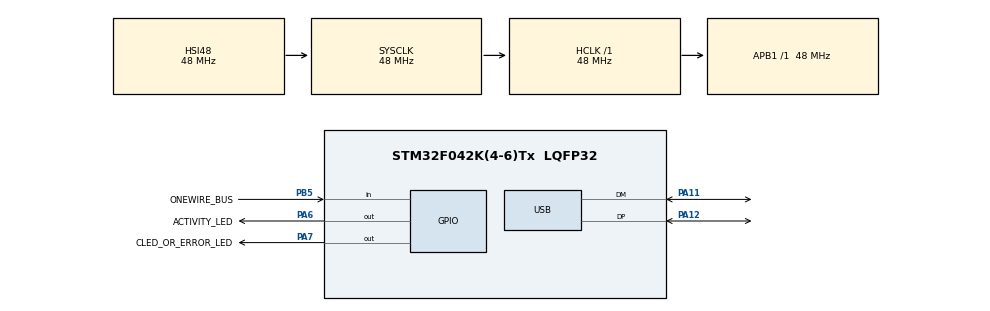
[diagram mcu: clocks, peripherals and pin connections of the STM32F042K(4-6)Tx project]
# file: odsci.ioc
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IWDG.Prescaler=IWDG_PRESCALER_32
Mcu.Family=STM32F0
Mcu.Name=STM32F042K(4-6)Tx
Mcu.Package=LQFP32
NVIC.USB_IRQn=true\:0\:0\:false\:false\:true\:false\:true\:true
PA11.Mode=Device
PA11.Signal=USB_DM
PA12.Mode=Device
PA12.Signal=USB_DP
PA13.Mode=Serial_Wire
PA13.Signal=SYS_SWDIO
PA14.Mode=Serial_Wire
PA14.Signal=SYS_SWCLK
PA6.GPIO_Label=ACTIVITY_LED
PA6.Signal=GPIO_Output
PA7.GPIO_Label=CLED_OR_ERROR_LED
PA7.Signal=GPIO_Output
PB5.GPIO_Label=ONEWIRE_BUS
PB5.Signal=GPIO_Input
ProjectManager.HeapSize=0x200
ProjectManager.StackSize=0x400
ProjectManager.TargetToolchain=CMake
RCC.AHBFreq_Value=48000000
RCC.APB1Freq_Value=48000000
RCC.APB1TimFreq_Value=48000000
RCC.HCLKFreq_Value=48000000
RCC.PWREXT_OverDrive=PWREXT_OverDrive_DESACTIVATED
RCC.PWR_Regulator_Voltage_Scale=PWR_REGULATOR_VOLTAGE_SCALE3
RCC.RCC_TIM_PRescaler_Selection=RCC_TIMPRES_DESACTIVATED
RCC.SYSCLKFreq_VALUE=48000000
RCC.SYSCLKSource=RCC_SYSCLKSOURCE_HSI48
TIM2.Prescaler=47
USB_DEVICE.APP_RX_DATA_SIZE=256
USB_DEVICE.APP_TX_DATA_SIZE=256
USB_DEVICE.CLASS_NAME_FS=CDC
USB_DEVICE.CONFIGURATION_STRING_CDC_FS=ODSCI Configuration
USB_DEVICE.INTERFACE_STRING_CDC_FS=ODSCI Interface
USB_DEVICE.MANUFACTURER_STRING=Stratos Thivaios
USB_DEVICE.PRODUCT_STRING_CDC_FS=ODSCI v2 CDC
USB_DEVICE.VirtualMode=Cdc
USB_DEVICE.VirtualModeFS=Cdc_FS
VP_IWDG_VS_IWDG.Mode=IWDG_Activate
VP_TIM2_VS_ClockSourceINT.Mode=Internal
VP_USB_DEVICE_VS_USB_DEVICE_CDC_FS.Mode=CDC_FS
board=custom

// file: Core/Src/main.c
/* USER CODE BEGIN Header */
/**
  ******************************************************************************
  * @file           : main.c
  * @brief          : Main program body
  * @project        : ODSCI STM32 Firmware
  * @author         : Stratos Thivaios
  ******************************************************************************
  * @attention
  *
  * Copyright (c) 2026 Stratos Thivaios
  *
  * Licensed under the Apache License, Version 2.0 (the "License");
  * you may not use this file except in compliance with the License.
  * You may obtain a copy of the License at
  *
  *     http://www.apache.org/licenses/LICENSE-2.0
  *
  * Unless required by applicable law or agreed to in writing, software
  * distributed under the License is distributed on an "AS IS" BASIS,
  * WITHOUT WARRANTIES OR CONDITIONS OF ANY KIND, either express or implied.
  * See the License for the specific language governing permissions and
  * limitations under the License.
  *
  ******************************************************************************
  */
/* USER CODE END Header */
#include "main.h"
#include "usb_device.h"

/* USER CODE BEGIN Includes */
#include "../../App/Inc/led_control.h"
/* USER CODE END Includes */

IWDG_HandleTypeDef hiwdg;

TIM_HandleTypeDef htim2;

/* USER CODE BEGIN PV */

TakeAction_Params_T TakeAction_ClearStruct;
volatile TakeAction_Params_T TakeAction_Params;
volatile bool LastResetDueToIWDG;
/* USER CODE END PV */

void SystemClock_Config(void);
static void MX_GPIO_Init(void);
static void MX_TIM2_Init(void);
static void MX_IWDG_Init(void);

/* USER CODE BEGIN 0 */

void change_takeAction_params(const TakeAction_Params_T params) {
  TakeAction_Params = params;
}
/* USER CODE END 0 */

int main(void)
{

  /* MCU Configuration--------------------------------------------------------*/

  /* Reset of all peripherals, Initializes the Flash interface and the Systick. */
  HAL_Init();

  /* Configure the system clock */
  SystemClock_Config();

  /* Initialize all configured peripherals */
  MX_GPIO_Init();
  MX_USB_DEVICE_Init();
  MX_TIM2_Init();
  MX_IWDG_Init();
  /* USER CODE BEGIN 2 */

  // check reset cause before anything else
  set_last_reset_due_to_iwdg(__HAL_RCC_GET_FLAG(RCC_FLAG_IWDGRST));
  if (__HAL_RCC_GET_FLAG(RCC_FLAG_IWDGRST)) {
    int i = 0;
    while (i < 6) {
      HAL_GPIO_WritePin(CLED_OR_ERROR_LED_GPIO_Port, CLED_OR_ERROR_LED_Pin, true);
      HAL_Delay(350);
      HAL_GPIO_WritePin(CLED_OR_ERROR_LED_GPIO_Port, CLED_OR_ERROR_LED_Pin, false);
      HAL_Delay(250);
      HAL_IWDG_Refresh(&hiwdg);
      i = i + 1;
    }
  }
  __HAL_RCC_CLEAR_RESET_FLAGS(); // clear them for next time

  // start the timer
  HAL_TIM_Base_Start(&htim2);
  /* USER CODE END 2 */

  /* Infinite loop */
  /* USER CODE BEGIN WHILE */
  // ReSharper disable once CppDFAEndlessLoop
  while (1) {
    // disable interrupts to prevent a race condition if the usb interrupt tries to access the var too
    __disable_irq();
    // before clearing the var, we store the value in a new var to pass it to the take_action() func
    const TakeAction_Params_T local_params = TakeAction_Params;
    TakeAction_Params = TakeAction_ClearStruct;
    // enable the interrupts again
    __enable_irq();

    // now actually take action
    take_action(local_params);

    HAL_IWDG_Refresh(&hiwdg);
    HAL_Delay(1);
  }
    /* USER CODE END WHILE */

}

void SystemClock_Config(void)
{
  RCC_OscInitTypeDef RCC_OscInitStruct = {0};
  RCC_ClkInitTypeDef RCC_ClkInitStruct = {0};
  RCC_PeriphCLKInitTypeDef PeriphClkInit = {0};

  /** Initializes the RCC Oscillators according to the specified parameters
  * in the RCC_OscInitTypeDef structure.
  */
  RCC_OscInitStruct.OscillatorType = RCC_OSCILLATORTYPE_HSI48|RCC_OSCILLATORTYPE_LSI;
  RCC_OscInitStruct.HSI48State = RCC_HSI48_ON;
  RCC_OscInitStruct.LSIState = RCC_LSI_ON;
  RCC_OscInitStruct.PLL.PLLState = RCC_PLL_NONE;
  if (HAL_RCC_OscConfig(&RCC_OscInitStruct) != HAL_OK)
  {
    Error_Handler();
  }

  /** Initializes the CPU, AHB and APB buses clocks
  */
  RCC_ClkInitStruct.ClockType = RCC_CLOCKTYPE_HCLK|RCC_CLOCKTYPE_SYSCLK
                              |RCC_CLOCKTYPE_PCLK1;
  RCC_ClkInitStruct.SYSCLKSource = RCC_SYSCLKSOURCE_HSI48;
  RCC_ClkInitStruct.AHBCLKDivider = RCC_SYSCLK_DIV1;
  RCC_ClkInitStruct.APB1CLKDivider = RCC_HCLK_DIV1;

  if (HAL_RCC_ClockConfig(&RCC_ClkInitStruct, FLASH_LATENCY_1) != HAL_OK)
  {
    Error_Handler();
  }
  PeriphClkInit.PeriphClockSelection = RCC_PERIPHCLK_USB;
  PeriphClkInit.UsbClockSelection = RCC_USBCLKSOURCE_HSI48;

  if (HAL_RCCEx_PeriphCLKConfig(&PeriphClkInit) != HAL_OK)
  {
    Error_Handler();
  }
}

static void MX_IWDG_Init(void)
{

  hiwdg.Instance = IWDG;
  hiwdg.Init.Prescaler = IWDG_PRESCALER_32;
  hiwdg.Init.Window = 4095;
  hiwdg.Init.Reload = 4095;
  if (HAL_IWDG_Init(&hiwdg) != HAL_OK)
  {
    Error_Handler();
  }

}

static void MX_TIM2_Init(void)
{

  TIM_ClockConfigTypeDef sClockSourceConfig = {0};
  TIM_MasterConfigTypeDef sMasterConfig = {0};

  htim2.Instance = TIM2;
  htim2.Init.Prescaler = 47;
  htim2.Init.CounterMode = TIM_COUNTERMODE_UP;
  htim2.Init.Period = 4294967295;
  htim2.Init.ClockDivision = TIM_CLOCKDIVISION_DIV1;
  htim2.Init.AutoReloadPreload = TIM_AUTORELOAD_PRELOAD_DISABLE;
  if (HAL_TIM_Base_Init(&htim2) != HAL_OK)
  {
    Error_Handler();
  }
  sClockSourceConfig.ClockSource = TIM_CLOCKSOURCE_INTERNAL;
  if (HAL_TIM_ConfigClockSource(&htim2, &sClockSourceConfig) != HAL_OK)
  {
    Error_Handler();
  }
  sMasterConfig.MasterOutputTrigger = TIM_TRGO_RESET;
  sMasterConfig.MasterSlaveMode = TIM_MASTERSLAVEMODE_DISABLE;
  if (HAL_TIMEx_MasterConfigSynchronization(&htim2, &sMasterConfig) != HAL_OK)
  {
    Error_Handler();
  }

}

static void MX_GPIO_Init(void)
{
  GPIO_InitTypeDef GPIO_InitStruct = {0};

  /* GPIO Ports Clock Enable */
  __HAL_RCC_GPIOA_CLK_ENABLE();
  __HAL_RCC_GPIOB_CLK_ENABLE();

  /*Configure GPIO pin Output Level */
  HAL_GPIO_WritePin(GPIOA, ACTIVITY_LED_Pin|CLED_OR_ERROR_LED_Pin, GPIO_PIN_RESET);

  /*Configure GPIO pins : ACTIVITY_LED_Pin CLED_OR_ERROR_LED_Pin */
  GPIO_InitStruct.Pin = ACTIVITY_LED_Pin|CLED_OR_ERROR_LED_Pin;
  GPIO_InitStruct.Mode = GPIO_MODE_OUTPUT_PP;
  GPIO_InitStruct.Pull = GPIO_NOPULL;
  GPIO_InitStruct.Speed = GPIO_SPEED_FREQ_LOW;
  HAL_GPIO_Init(GPIOA, &GPIO_InitStruct);

  /*Configure GPIO pin : ONEWIRE_BUS_Pin */
  GPIO_InitStruct.Pin = ONEWIRE_BUS_Pin;
  GPIO_InitStruct.Mode = GPIO_MODE_INPUT;
  GPIO_InitStruct.Pull = GPIO_NOPULL;
  HAL_GPIO_Init(ONEWIRE_BUS_GPIO_Port, &GPIO_InitStruct);

}

void Error_Handler(void)
{
  __disable_irq();
  while (1)
  {
  }
}
